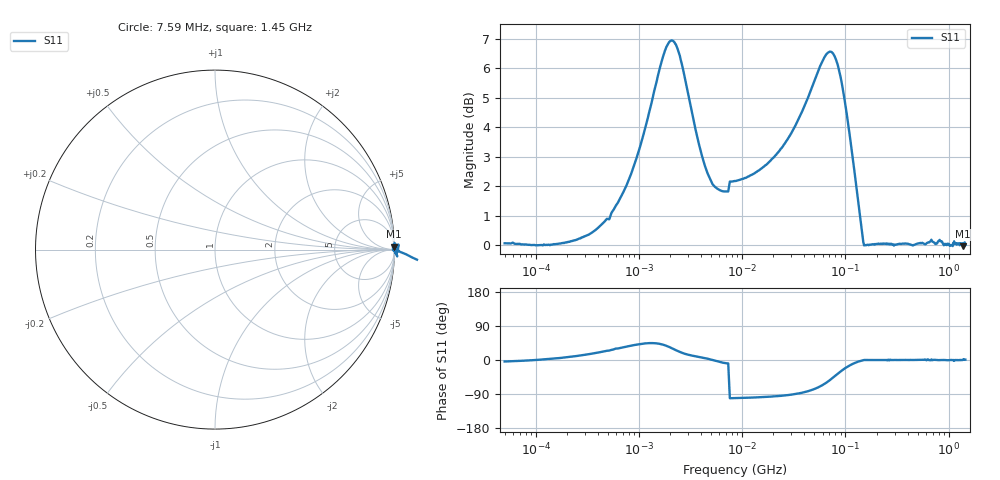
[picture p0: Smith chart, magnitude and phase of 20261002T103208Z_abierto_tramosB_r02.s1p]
! piloto_saltos / abierto_tramosB / r02
# HZ S RI R 50
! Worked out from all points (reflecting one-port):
!   501 points, 50 kHz to 1.45 GHz, reference 50 ohm
!   lowest |S11| = 0.0 dB at 1.381 GHz (marker M1), VSWR 604.60, Z = 1.2e+03 + j5.91e+03 ohm
!   phase of S11 starts at -4 deg and turns +5 deg over the sweep
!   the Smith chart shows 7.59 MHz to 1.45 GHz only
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50000  1.006 -0.0701
182500  1.003 0.1057
381000  1.007 0.3368
678000  1.023 0.6508
1164000  1.148 1.106
1623000  1.5 1.354
1947000  1.812 1.257
2379000  1.968 0.8563
2784000  1.844 0.5422
3000000  1.751 0.4331
4620000  1.322 0.0793
6780000  1.222 -0.1722
8130000  -0.2382 -1.261
8670000  -0.2333 -1.264
1.785e7  -0.1708 -1.369
3.27e7  0.00852 -1.595
4.62e7  0.3196 -1.804
5.7e7  0.706 -1.887
6.51e7  1.052 -1.824
7.32e7  1.375 -1.622
8.67e7  1.652 -1.091
9.75e7  1.633 -0.6953
1.137e8  1.437 -0.3117
1.299e8  1.221 -0.1103
1.542e8  1.001 0.000723
4.035e8  1.006 -0.000256
1.381e9  0.9966 0.0162
1.45e9  1.001 0.0157
